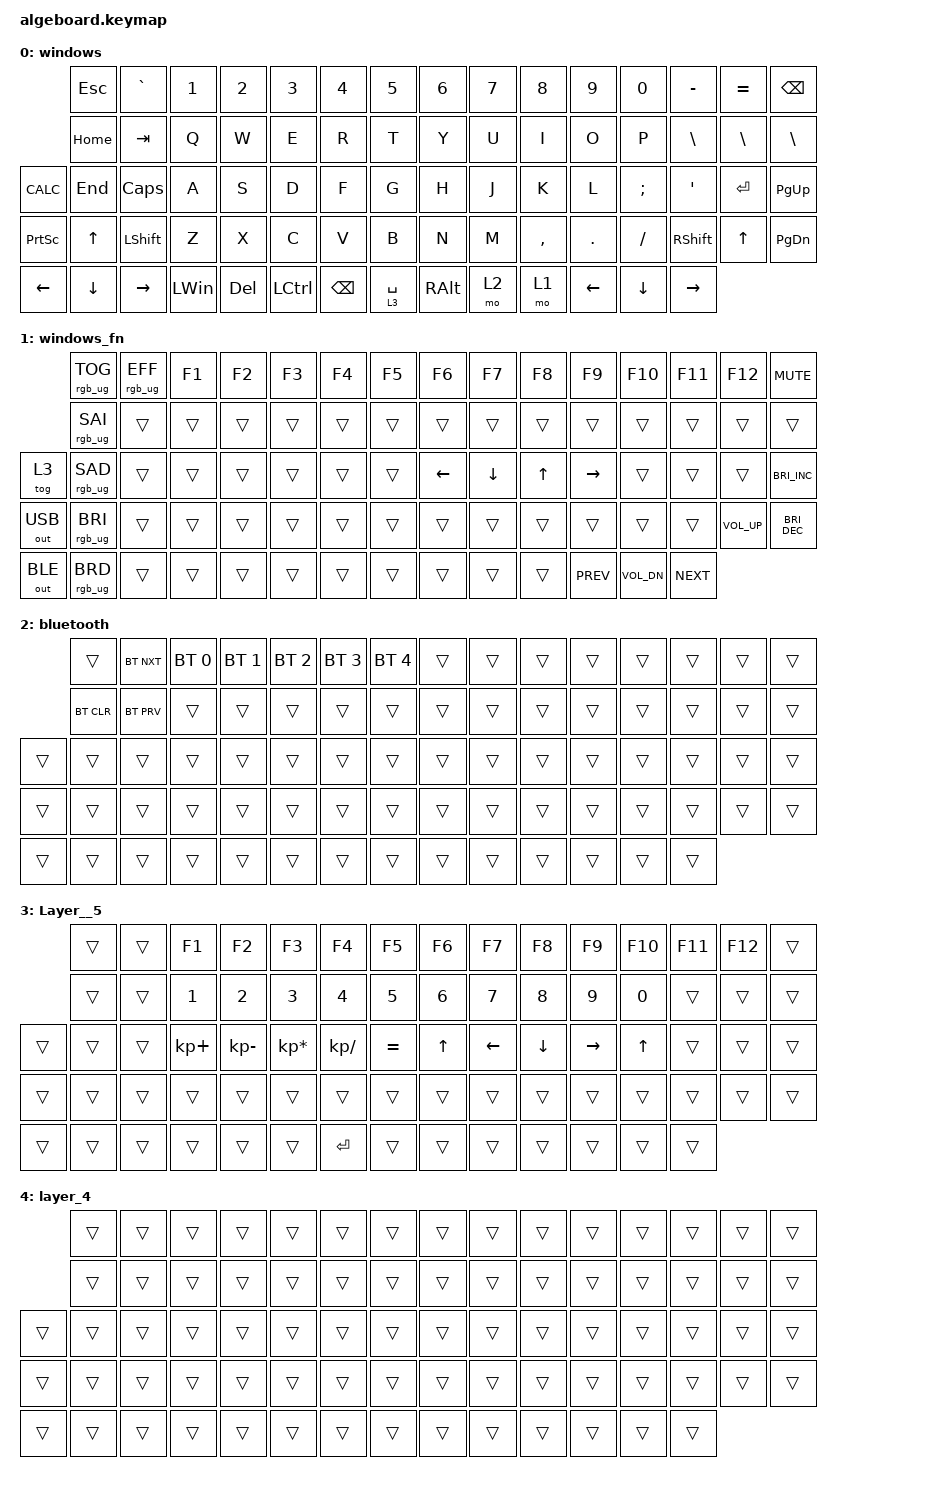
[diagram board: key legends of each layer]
/*
 * Copyright (c) 2020 The ZMK Contributors
 *
 * SPDX-License-Identifier: MIT
 */

#include <behaviors.dtsi>
#include <dt-bindings/zmk/bt.h>
#include <dt-bindings/zmk/keys.h>
#include <dt-bindings/zmk/outputs.h>
#include <dt-bindings/zmk/rgb.h>

/ {
    keymap {
        compatible = "zmk,keymap";

        windows {
            bindings = <
            &kp ESC   &kp GRAVE     &kp N1    &kp N2      &kp N3            &kp N4         &kp N5       &kp N6    &kp N7  &kp N8     &kp N9    &kp N0     &kp MINUS      &kp EQUAL      &kp BACKSPACE
            &kp HOME  &kp TAB       &kp Q     &kp W       &kp E             &kp R          &kp T        &kp Y     &kp U   &kp I      &kp O     &kp P      &kp BACKSLASH  &kp BACKSLASH  &kp BACKSLASH
&kp K_CALC  &kp END   &kp CAPSLOCK  &kp A     &kp S       &kp D             &kp F          &kp G        &kp H     &kp J   &kp K      &kp L     &kp SEMI   &kp SQT        &kp ENTER      &kp PG_UP
&kp PSCRN   &kp UP    &kp LSHIFT    &kp Z     &kp X       &kp C             &kp V          &kp B        &kp N     &kp M   &kp COMMA  &kp DOT   &kp SLASH  &kp RSHIFT     &kp UP         &kp PG_DN
&kp LEFT    &kp DOWN  &kp RIGHT     &kp LWIN  &kp DELETE  &kp LEFT_CONTROL  &kp BACKSPACE  &lt 3 SPACE  &kp RALT  &mo 2   &mo 1      &kp LEFT  &kp DOWN   &kp RIGHT
            >;
        };

        windows_fn {
            bindings = <
              &rgb_ug RGB_TOG  &rgb_ug RGB_EFF  &kp F1  &kp F2  &kp F3  &kp F4  &kp F5  &kp F6    &kp F7    &kp F8  &kp F9      &kp F10       &kp F11     &kp F12       &kp C_MUTE
              &rgb_ug RGB_SAI  &trans           &trans  &trans  &trans  &trans  &trans  &trans    &trans    &trans  &trans      &trans        &trans      &trans        &trans
&tog 3        &rgb_ug RGB_SAD  &trans           &trans  &trans  &trans  &trans  &trans  &kp LEFT  &kp DOWN  &kp UP  &kp RIGHT   &trans        &trans      &trans        &kp C_BRI_INC
&out OUT_USB  &rgb_ug RGB_BRI  &trans           &trans  &trans  &trans  &trans  &trans  &trans    &trans    &trans  &trans      &trans        &trans      &kp C_VOL_UP  &kp C_BRI_DEC
&out OUT_BLE  &rgb_ug RGB_BRD  &trans           &trans  &trans  &trans  &trans  &trans  &trans    &trans    &trans  &kp C_PREV  &kp C_VOL_DN  &kp C_NEXT
            >;
        };

        bluetooth {
            bindings = <
        &trans      &bt BT_NXT  &bt BT_SEL 0  &bt BT_SEL 1  &bt BT_SEL 2  &bt BT_SEL 3  &bt BT_SEL 4  &trans  &trans  &trans  &trans  &trans  &trans  &trans  &trans
        &bt BT_CLR  &bt BT_PRV  &trans        &trans        &trans        &trans        &trans        &trans  &trans  &trans  &trans  &trans  &trans  &trans  &trans
&trans  &trans      &trans      &trans        &trans        &trans        &trans        &trans        &trans  &trans  &trans  &trans  &trans  &trans  &trans  &trans
&trans  &trans      &trans      &trans        &trans        &trans        &trans        &trans        &trans  &trans  &trans  &trans  &trans  &trans  &trans  &trans
&trans  &trans      &trans      &trans        &trans        &trans        &trans        &trans        &trans  &trans  &trans  &trans  &trans  &trans
            >;
        };

        Layer__5 {
            bindings = <
        &trans  &trans  &kp F1        &kp F2        &kp F3           &kp F4         &kp F5        &kp F6        &kp F7        &kp F8        &kp F9        &kp F10       &kp F11  &kp F12  &trans
        &trans  &trans  &kp NUMBER_1  &kp NUMBER_2  &kp NUMBER_3     &kp NUMBER_4   &kp NUMBER_5  &kp NUMBER_6  &kp NUMBER_7  &kp NUMBER_8  &kp NUMBER_9  &kp NUMBER_0  &trans   &trans   &trans
&trans  &trans  &trans  &kp KP_PLUS   &kp KP_MINUS  &kp KP_MULTIPLY  &kp KP_DIVIDE  &kp EQUAL     &kp UP_ARROW  &kp LEFT      &kp DOWN      &kp RIGHT     &kp UP_ARROW  &trans   &trans   &trans
&trans  &trans  &trans  &trans        &trans        &trans           &trans         &trans        &trans        &trans        &trans        &trans        &trans        &trans   &trans   &trans
&trans  &trans  &trans  &trans        &trans        &trans           &kp ENTER      &trans        &trans        &trans        &trans        &trans        &trans        &trans
            >;
        };

        layer_4 {
            bindings = <
        &trans  &trans  &trans  &trans  &trans  &trans  &trans  &trans  &trans  &trans  &trans  &trans  &trans  &trans  &trans
        &trans  &trans  &trans  &trans  &trans  &trans  &trans  &trans  &trans  &trans  &trans  &trans  &trans  &trans  &trans
&trans  &trans  &trans  &trans  &trans  &trans  &trans  &trans  &trans  &trans  &trans  &trans  &trans  &trans  &trans  &trans
&trans  &trans  &trans  &trans  &trans  &trans  &trans  &trans  &trans  &trans  &trans  &trans  &trans  &trans  &trans  &trans
&trans  &trans  &trans  &trans  &trans  &trans  &trans  &trans  &trans  &trans  &trans  &trans  &trans  &trans
            >;
        };
    };
};
